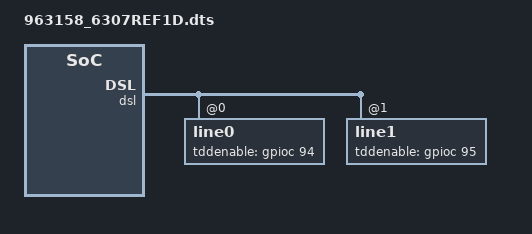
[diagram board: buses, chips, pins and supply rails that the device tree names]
#include "963158REF1D.dts"

/ {
    memory_controller {
		memcfg = <(BP_DDR_TYPE_DDR4 | \
			BP_DDR_SPEED_1067_15_15_15 | \
			BP_DDR_TOTAL_SIZE_2048MB   | \
			BP_DDR_DEVICE_WIDTH_16     | \
			BP_DDR_TOTAL_WIDTH_32BIT   | \
			BP_DDR_SSC_CONFIG_1)>;
    };
};

&dsl {
	line0@0 {
		afeid = <(DSL_AFE_CHIP_GFAST_CH0 | DSL_AFE_LD_6307 | DSL_AFE_FE_ANNEXA | DSL_AFE_FE_REV_6307_REV_12_7_60_2 | DSL_AFE_FE_RNC | DSL_AFE_FE_AVG)>;
		secondary-afeid = <(DSL_AFE_CHIP_GFAST_CH0 | DSL_AFE_LD_6307 | DSL_AFE_FE_ANNEXA | DSL_AFE_FE_REV_6307_REV_12_7_60_2 | DSL_AFE_FE_RNC | DSL_AFE_FE_AVG)>;
		tddenable-gpio = <&gpioc 94 GPIO_ACTIVE_HIGH>;
	};

	line1@1 {
		afeid = <(DSL_AFE_CHIP_GFAST_CH1 | DSL_AFE_LD_6307 | DSL_AFE_FE_ANNEXA | DSL_AFE_FE_REV_6307_REV_12_7_60_1 | DSL_AFE_FE_RNC | DSL_AFE_FE_AVG)>;
		secondary-afeid = <(DSL_AFE_CHIP_GFAST_CH1 | DSL_AFE_LD_6307 | DSL_AFE_FE_ANNEXA | DSL_AFE_FE_REV_6307_REV_12_7_60_1 | DSL_AFE_FE_RNC | DSL_AFE_FE_AVG)>;
		tddenable-gpio = <&gpioc 95 GPIO_ACTIVE_HIGH>;
	};
};

